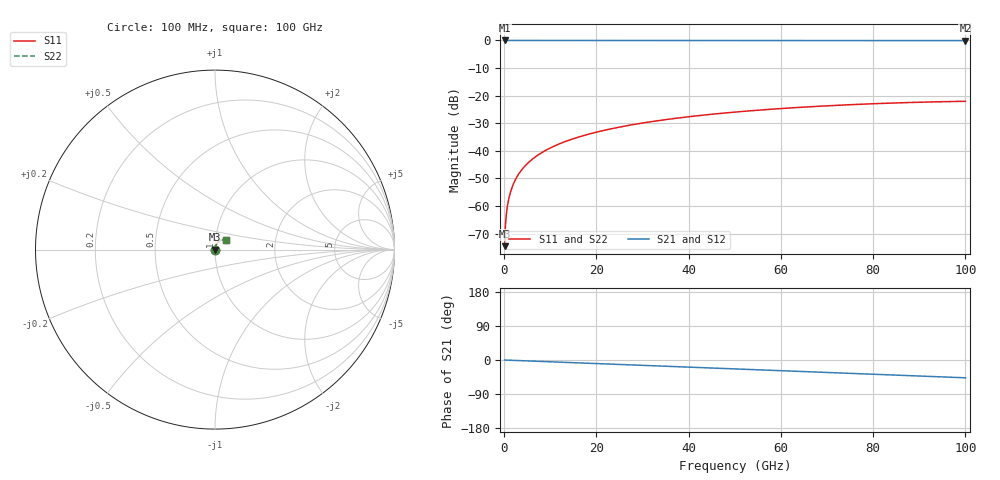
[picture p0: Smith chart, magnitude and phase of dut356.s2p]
! Touchstone file exported from HFSS 2026.1.0
!  File:  C:/ffzhzh/LocalFiles/Ansys_Project_Files/temp_train_TSV_356_1783510094_41296.aedt
!  Generated:  07:29:34 PM Jul  8, 2026
!  Design:  TSV
!  Project:  temp_train_TSV_356_1783510094_41296
! Variables:
!  h_bsmrdl = 2um
!  h_ox = 20um
!  h_rdl = 5um
!  h_sub = 92.09um
!  h_tmrdl = 5um
!  h_tsv = 92.09um
!  h_via = 3um
!  l_bsmrdl = 300um
!  l_sub = 423.86um
!  l_tmrdl = 200um
!  m_sub = 200um
!  pitch = 55.83um
!  r_tsv = 11.93um
!  s_tmrdl = 10um
!  w_bsmrdl = 18um
!  w_sub = 500um
!  w_tmrdl = 12um
!  x_tsv_center1 = 206um
!  x_tsv_center2 = 524um
!  x_tsv_center3 = 736um
!  x_tsv_center4 = 1054um
!  x_tsv_center5 = 1266um
!  x_tsv_center6 = 1584um
# GHz S MA R 50.000000
! Terminal data exported
! Port[1] = TSV1_1_T1
! Port[2] = TSV1_1_T2
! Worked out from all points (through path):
!   1000 points, 100 MHz to 100 GHz, reference 50 ohm
!   highest |S21| = 0.00 dB at 100 MHz (marker M1); lowest = -0.1 dB at 100 GHz (marker M2)
!   group delay of S21, straight-line fit = 1.3 ps
!   lowest |S11| = -74.5 dB at 100 MHz (marker M3), VSWR 1.00, Z = 50 + j0.0155 ohm
!   |S11| at or under -10 dB: start of sweep to end of sweep
!   |S22| runs from -74.5 to -22.0 dB; largest |S21 - S12| = 6.4e-15
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0.1  0.0001877 55.5  0.9999 -0.0  0.9999 -0.0  0.0001877 55.5
! Gamma 0 0 0 0
! Port Impedance 50 0 50 0
0.3  0.0004705 72.4  0.9999 -0.1  0.9999 -0.1  0.0004705 72.4
0.7  0.0009886 76.3  0.9998 -0.3  0.9998 -0.3  0.0009886 76.3
0.8  0.001109 76.7  0.9998 -0.4  0.9998 -0.4  0.001109 76.7
1  0.001345 77.6  0.9997 -0.5  0.9997 -0.5  0.001345 77.6
1.3  0.001695 78.7  0.9997 -0.6  0.9997 -0.6  0.001695 78.7
1.8  0.002271 79.8  0.9996 -0.9  0.9996 -0.9  0.002271 79.8
2.3  0.002843 80.5  0.9996 -1.1  0.9996 -1.1  0.002843 80.5
3  0.003634 81.1  0.9995 -1.4  0.9995 -1.4  0.003634 81.1
3.8  0.004526 81.4  0.9995 -1.8  0.9995 -1.8  0.004526 81.4
4.8  0.00563 81.6  0.9994 -2.3  0.9994 -2.3  0.00563 81.6
6  0.006944 81.6  0.9993 -2.8  0.9993 -2.8  0.006944 81.6
8.8  0.009985 81.2  0.9991 -4.2  0.9991 -4.2  0.009985 81.2
12.4  0.01384 80.1  0.9989 -5.8  0.9989 -5.8  0.01384 80.1
16.8  0.01849 78.5  0.9987 -7.9  0.9987 -7.9  0.01849 78.5
24.2  0.02612 75.6  0.9983 -11.4  0.9983 -11.4  0.02612 75.6
33.4  0.03526 71.8  0.9978 -15.7  0.9978 -15.7  0.03526 71.7
41.2  0.04261 68.3  0.9973 -19.3  0.9973 -19.3  0.04262 68.3
50.1  0.05046 64.4  0.9967 -23.5  0.9967 -23.5  0.05046 64.3
66.7  0.06325 56.9  0.9957 -31.3  0.9957 -31.3  0.06325 56.8
83.4  0.07311 49.2  0.9947 -39.1  0.9947 -39.1  0.07311 49.1
100  0.07912 41.6  0.9937 -47.0  0.9937 -47.0  0.07912 41.5
